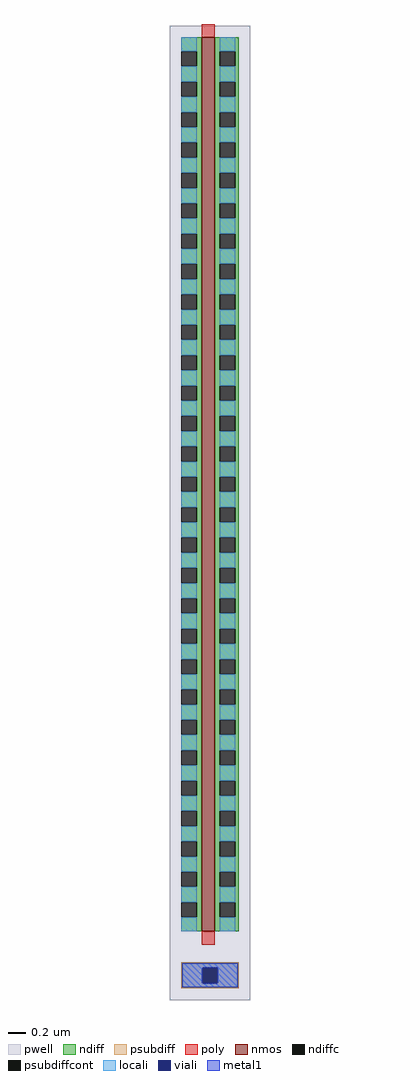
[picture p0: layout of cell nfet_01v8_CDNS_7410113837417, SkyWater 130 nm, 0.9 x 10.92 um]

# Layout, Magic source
magic
tech sky130A
magscale 1 2
<< pwell >>
rect -71 -154 109 2026
<< nmos >>
rect 0 0 30 2000
<< ndiff >>
rect -45 1969 0 2000
rect -11 1935 0 1969
rect -45 1901 0 1935
rect -11 1867 0 1901
rect -45 1833 0 1867
rect -11 1799 0 1833
rect -45 1765 0 1799
rect -11 1731 0 1765
rect -45 1697 0 1731
rect -11 1663 0 1697
rect -45 1629 0 1663
rect -11 1595 0 1629
rect -45 1561 0 1595
rect -11 1527 0 1561
rect -45 1493 0 1527
rect -11 1459 0 1493
rect -45 1425 0 1459
rect -11 1391 0 1425
rect -45 1357 0 1391
rect -11 1323 0 1357
rect -45 1289 0 1323
rect -11 1255 0 1289
rect -45 1221 0 1255
rect -11 1187 0 1221
rect -45 1153 0 1187
rect -11 1119 0 1153
rect -45 1085 0 1119
rect -11 1051 0 1085
rect -45 1017 0 1051
rect -11 983 0 1017
rect -45 949 0 983
rect -11 915 0 949
rect -45 881 0 915
rect -11 847 0 881
rect -45 813 0 847
rect -11 779 0 813
rect -45 745 0 779
rect -11 711 0 745
rect -45 677 0 711
rect -11 643 0 677
rect -45 609 0 643
rect -11 575 0 609
rect -45 541 0 575
rect -11 507 0 541
rect -45 473 0 507
rect -11 439 0 473
rect -45 405 0 439
rect -11 371 0 405
rect -45 337 0 371
rect -11 303 0 337
rect -45 269 0 303
rect -11 235 0 269
rect -45 201 0 235
rect -11 167 0 201
rect -45 133 0 167
rect -11 99 0 133
rect -45 65 0 99
rect -11 31 0 65
rect -45 0 0 31
rect 30 1969 83 2000
rect 30 1935 41 1969
rect 75 1935 83 1969
rect 30 1901 83 1935
rect 30 1867 41 1901
rect 75 1867 83 1901
rect 30 1833 83 1867
rect 30 1799 41 1833
rect 75 1799 83 1833
rect 30 1765 83 1799
rect 30 1731 41 1765
rect 75 1731 83 1765
rect 30 1697 83 1731
rect 30 1663 41 1697
rect 75 1663 83 1697
rect 30 1629 83 1663
rect 30 1595 41 1629
rect 75 1595 83 1629
rect 30 1561 83 1595
rect 30 1527 41 1561
rect 75 1527 83 1561
rect 30 1493 83 1527
rect 30 1459 41 1493
rect 75 1459 83 1493
rect 30 1425 83 1459
rect 30 1391 41 1425
rect 75 1391 83 1425
rect 30 1357 83 1391
rect 30 1323 41 1357
rect 75 1323 83 1357
rect 30 1289 83 1323
rect 30 1255 41 1289
rect 75 1255 83 1289
rect 30 1221 83 1255
rect 30 1187 41 1221
rect 75 1187 83 1221
rect 30 1153 83 1187
rect 30 1119 41 1153
rect 75 1119 83 1153
rect 30 1085 83 1119
rect 30 1051 41 1085
rect 75 1051 83 1085
rect 30 1017 83 1051
rect 30 983 41 1017
rect 75 983 83 1017
rect 30 949 83 983
rect 30 915 41 949
rect 75 915 83 949
rect 30 881 83 915
rect 30 847 41 881
rect 75 847 83 881
rect 30 813 83 847
rect 30 779 41 813
rect 75 779 83 813
rect 30 745 83 779
rect 30 711 41 745
rect 75 711 83 745
rect 30 677 83 711
rect 30 643 41 677
rect 75 643 83 677
rect 30 609 83 643
rect 30 575 41 609
rect 75 575 83 609
rect 30 541 83 575
rect 30 507 41 541
rect 75 507 83 541
rect 30 473 83 507
rect 30 439 41 473
rect 75 439 83 473
rect 30 405 83 439
rect 30 371 41 405
rect 75 371 83 405
rect 30 337 83 371
rect 30 303 41 337
rect 75 303 83 337
rect 30 269 83 303
rect 30 235 41 269
rect 75 235 83 269
rect 30 201 83 235
rect 30 167 41 201
rect 75 167 83 201
rect 30 133 83 167
rect 30 99 41 133
rect 75 99 83 133
rect 30 65 83 99
rect 30 31 41 65
rect 75 31 83 65
rect 30 0 83 31
<< ndiffc >>
rect -45 1935 -11 1969
rect -45 1867 -11 1901
rect -45 1799 -11 1833
rect -45 1731 -11 1765
rect -45 1663 -11 1697
rect -45 1595 -11 1629
rect -45 1527 -11 1561
rect -45 1459 -11 1493
rect -45 1391 -11 1425
rect -45 1323 -11 1357
rect -45 1255 -11 1289
rect -45 1187 -11 1221
rect -45 1119 -11 1153
rect -45 1051 -11 1085
rect -45 983 -11 1017
rect -45 915 -11 949
rect -45 847 -11 881
rect -45 779 -11 813
rect -45 711 -11 745
rect -45 643 -11 677
rect -45 575 -11 609
rect -45 507 -11 541
rect -45 439 -11 473
rect -45 371 -11 405
rect -45 303 -11 337
rect -45 235 -11 269
rect -45 167 -11 201
rect -45 99 -11 133
rect -45 31 -11 65
rect 41 1935 75 1969
rect 41 1867 75 1901
rect 41 1799 75 1833
rect 41 1731 75 1765
rect 41 1663 75 1697
rect 41 1595 75 1629
rect 41 1527 75 1561
rect 41 1459 75 1493
rect 41 1391 75 1425
rect 41 1323 75 1357
rect 41 1255 75 1289
rect 41 1187 75 1221
rect 41 1119 75 1153
rect 41 1051 75 1085
rect 41 983 75 1017
rect 41 915 75 949
rect 41 847 75 881
rect 41 779 75 813
rect 41 711 75 745
rect 41 643 75 677
rect 41 575 75 609
rect 41 507 75 541
rect 41 439 75 473
rect 41 371 75 405
rect 41 303 75 337
rect 41 235 75 269
rect 41 167 75 201
rect 41 99 75 133
rect 41 31 75 65
<< psubdiff >>
rect -45 -82 83 -70
rect -45 -116 2 -82
rect 36 -116 83 -82
rect -45 -128 83 -116
<< psubdiffcont >>
rect 2 -116 36 -82
<< poly >>
rect 0 2000 30 2030
rect 0 -30 30 0
<< locali >>
rect -45 1969 -11 2000
rect -45 1901 -11 1935
rect -45 1833 -11 1867
rect -45 1765 -11 1799
rect -45 1697 -11 1731
rect -45 1629 -11 1663
rect -45 1561 -11 1595
rect -45 1493 -11 1527
rect -45 1425 -11 1459
rect -45 1357 -11 1391
rect -45 1289 -11 1323
rect -45 1221 -11 1255
rect -45 1153 -11 1187
rect -45 1085 -11 1119
rect -45 1017 -11 1051
rect -45 949 -11 983
rect -45 881 -11 915
rect -45 813 -11 847
rect -45 745 -11 779
rect -45 677 -11 711
rect -45 609 -11 643
rect -45 541 -11 575
rect -45 473 -11 507
rect -45 405 -11 439
rect -45 337 -11 371
rect -45 269 -11 303
rect -45 201 -11 235
rect -45 133 -11 167
rect -45 65 -11 99
rect -45 0 -11 31
rect 41 1969 75 2000
rect 41 1901 75 1935
rect 41 1833 75 1867
rect 41 1765 75 1799
rect 41 1697 75 1731
rect 41 1629 75 1663
rect 41 1561 75 1595
rect 41 1493 75 1527
rect 41 1425 75 1459
rect 41 1357 75 1391
rect 41 1289 75 1323
rect 41 1221 75 1255
rect 41 1153 75 1187
rect 41 1085 75 1119
rect 41 1017 75 1051
rect 41 949 75 983
rect 41 881 75 915
rect 41 813 75 847
rect 41 745 75 779
rect 41 677 75 711
rect 41 609 75 643
rect 41 541 75 575
rect 41 473 75 507
rect 41 405 75 439
rect 41 337 75 371
rect 41 269 75 303
rect 41 201 75 235
rect 41 133 75 167
rect 41 65 75 99
rect 41 0 75 31
rect -43 -82 81 -72
rect -43 -116 2 -82
rect 36 -116 81 -82
rect -43 -126 81 -116
<< viali >>
rect 2 -116 36 -82
<< metal1 >>
rect -43 -82 81 -72
rect -43 -116 2 -82
rect 36 -116 81 -82
rect -43 -126 81 -116
<< end >>
